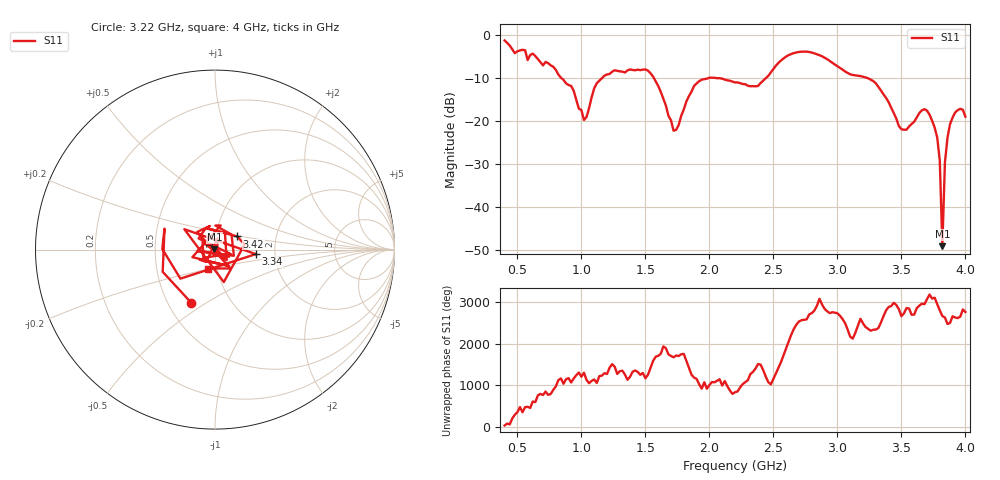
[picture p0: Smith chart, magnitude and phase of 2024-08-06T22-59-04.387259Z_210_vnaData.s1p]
!Created with skrf (http://scikit-rf.org).
# Hz S RI R 50.0
!freq ReS11 ImS11
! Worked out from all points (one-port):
!   181 points, 400 MHz to 4 GHz, reference 50 ohm
!   lowest |S11| = -49.1 dB at 3.82 GHz (marker M1), VSWR 1.01, Z = 49.7 + j0.175 ohm
!   |S11| at or under -10 dB: 1.568 GHz to 1.988 GHz (420.3 MHz wide, 23.6 % of centre); 2.084 GHz to 2.439 GHz (355.2 MHz wide, 15.7 % of centre); 3.241 GHz to end of sweep (the widest 3 of 4)
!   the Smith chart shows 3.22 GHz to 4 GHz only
!   S11 on the Smith chart (normalised r, x): 3.22 GHz: 0.65, -0.43; 3.34 GHz: 1.59, -0.08; 3.42 GHz: 1.27, +0.19; 4 GHz: 0.90, -0.19
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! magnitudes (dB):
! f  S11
! 400 MHz  -1.2
! 860 MHz  -10.4
! 940 MHz  -12.9
! 1.02 GHz  -19.7
! 1.12 GHz  -11.2
! 1.3 GHz  -8.4
! 1.52 GHz  -8.2
! 1.62 GHz  -13.2
! 1.72 GHz  -22.2
! 1.76 GHz  -20.9
! 1.92 GHz  -10.7
! 2.2 GHz  -11.0
! 2.38 GHz  -11.8
! 2.66 GHz  -4.1
! 3.1 GHz  -9.1
! 3.22 GHz  -9.8
! 3.34 GHz  -12.8
! 3.42 GHz  -16.8
! 3.5 GHz  -21.8
! 3.56 GHz  -21.2
! 3.68 GHz  -17.2
! 3.76 GHz  -21.5
! 3.8 GHz  -29.1
! 3.82 GHz  -49.1
! 3.84 GHz  -29.6
! 3.86 GHz  -23.9
! 3.92 GHz  -17.9
! 4 GHz  -18.9
